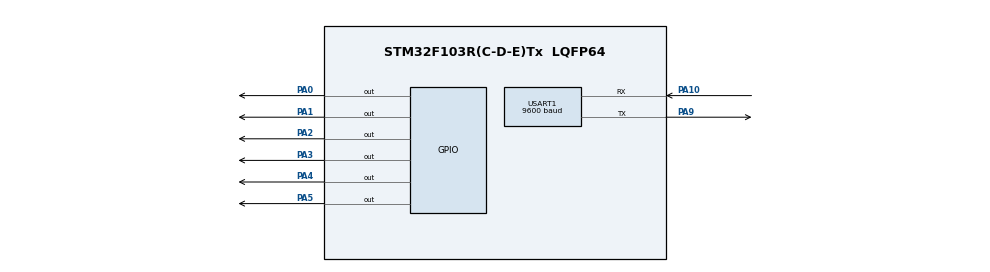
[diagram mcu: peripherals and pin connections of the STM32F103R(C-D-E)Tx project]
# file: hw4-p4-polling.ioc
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Mcu.Family=STM32F1
Mcu.Name=STM32F103R(C-D-E)Tx
Mcu.Package=LQFP64
NVIC.PriorityGroup=NVIC_PRIORITYGROUP_4
PA0-WKUP.Signal=GPIO_Output
PA1.Signal=GPIO_Output
PA10.Mode=Asynchronous
PA10.Signal=USART1_RX
PA13.Mode=Serial_Wire
PA13.Signal=SYS_JTMS-SWDIO
PA14.Mode=Serial_Wire
PA14.Signal=SYS_JTCK-SWCLK
PA2.Signal=GPIO_Output
PA3.Signal=GPIO_Output
PA4.Signal=GPIO_Output
PA5.Signal=GPIO_Output
PA9.Mode=Asynchronous
PA9.Signal=USART1_TX
PD0-OSC_IN.Mode=HSE-External-Oscillator
PD0-OSC_IN.Signal=RCC_OSC_IN
PD1-OSC_OUT.Mode=HSE-External-Oscillator
PD1-OSC_OUT.Signal=RCC_OSC_OUT
ProjectManager.HeapSize=0x200
ProjectManager.StackSize=0x400
ProjectManager.TargetToolchain=MDK-ARM V5.32
RCC.APB1Freq_Value=8000000
RCC.APB2Freq_Value=8000000
USART1.BaudRate=9600
USART1.VirtualMode=VM_ASYNC
board=custom

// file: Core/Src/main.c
/* USER CODE BEGIN Header */
/**
  ******************************************************************************
  * @file           : main.c
  * @brief          : Main program body
  ******************************************************************************
  * @attention
  *
  * Copyright (c) 2026 STMicroelectronics.
  * All rights reserved.
  *
  * This software is licensed under terms that can be found in the LICENSE file
  * in the root directory of this software component.
  * If no LICENSE file comes with this software, it is provided AS-IS.
  *
  ******************************************************************************
  */
/* USER CODE END Header */
#include "main.h"

/* USER CODE BEGIN Includes */
#include "lcd.h"
/* USER CODE END Includes */

/* USER CODE BEGIN PTD */
#define LCD_D4_PORT  GPIOA
#define LCD_D4_PIN   GPIO_PIN_0
#define LCD_D5_PORT  GPIOA
#define LCD_D5_PIN   GPIO_PIN_1
#define LCD_D6_PORT  GPIOA
#define LCD_D6_PIN   GPIO_PIN_2
#define LCD_D7_PORT  GPIOA
#define LCD_D7_PIN   GPIO_PIN_3

#define LCD_RS_PORT  GPIOA
#define LCD_RS_PIN   GPIO_PIN_4
#define LCD_EN_PORT  GPIOA
#define LCD_EN_PIN   GPIO_PIN_5
/* USER CODE END PTD */

UART_HandleTypeDef huart1;

/* USER CODE BEGIN PV */
uint8_t incoming_data = 0;
char display_text[16];
/* USER CODE END PV */

void SystemClock_Config(void);
static void MX_GPIO_Init(void);
static void MX_USART1_UART_Init(void);

int main(void)
{

  /* MCU Configuration--------------------------------------------------------*/

  /* Reset of all peripherals, Initializes the Flash interface and the Systick. */
  HAL_Init();

  /* Configure the system clock */
  SystemClock_Config();

  /* Initialize all configured peripherals */
  MX_GPIO_Init();
  MX_USART1_UART_Init();
  /* USER CODE BEGIN 2 */

Lcd_PortType data_ports[] = {LCD_D4_PORT, LCD_D5_PORT, LCD_D6_PORT, LCD_D7_PORT};
Lcd_PinType  data_pins[]  = {LCD_D4_PIN, LCD_D5_PIN, LCD_D6_PIN, LCD_D7_PIN};

Lcd_HandleTypeDef mylcd;
mylcd = Lcd_create(data_ports, data_pins, LCD_RS_PORT, LCD_RS_PIN, LCD_EN_PORT, LCD_EN_PIN, LCD_4_BIT_MODE);

Lcd_clear(&mylcd);
Lcd_cursor(&mylcd, 0, 0);
Lcd_string(&mylcd, "Mode: POLLING");
  /* USER CODE END 2 */

  /* Infinite loop */
  while (1)
  {

    /* USER CODE BEGIN 3 */
		if (HAL_UART_Receive(&huart1, &incoming_data, 1, 50) == HAL_OK)
    {
        Lcd_cursor(&mylcd, 1, 0);

        sprintf(display_text, "Value: %3d   ", incoming_data);
        Lcd_string(&mylcd, display_text);
    }
  }
  /* USER CODE END 3 */
}

void SystemClock_Config(void)
{
  RCC_OscInitTypeDef RCC_OscInitStruct = {0};
  RCC_ClkInitTypeDef RCC_ClkInitStruct = {0};

  /** Initializes the RCC Oscillators according to the specified parameters
  * in the RCC_OscInitTypeDef structure.
  */
  RCC_OscInitStruct.OscillatorType = RCC_OSCILLATORTYPE_HSI;
  RCC_OscInitStruct.HSIState = RCC_HSI_ON;
  RCC_OscInitStruct.HSICalibrationValue = RCC_HSICALIBRATION_DEFAULT;
  RCC_OscInitStruct.PLL.PLLState = RCC_PLL_NONE;
  if (HAL_RCC_OscConfig(&RCC_OscInitStruct) != HAL_OK)
  {
    Error_Handler();
  }

  /** Initializes the CPU, AHB and APB buses clocks
  */
  RCC_ClkInitStruct.ClockType = RCC_CLOCKTYPE_HCLK|RCC_CLOCKTYPE_SYSCLK
                              |RCC_CLOCKTYPE_PCLK1|RCC_CLOCKTYPE_PCLK2;
  RCC_ClkInitStruct.SYSCLKSource = RCC_SYSCLKSOURCE_HSI;
  RCC_ClkInitStruct.AHBCLKDivider = RCC_SYSCLK_DIV1;
  RCC_ClkInitStruct.APB1CLKDivider = RCC_HCLK_DIV1;
  RCC_ClkInitStruct.APB2CLKDivider = RCC_HCLK_DIV1;

  if (HAL_RCC_ClockConfig(&RCC_ClkInitStruct, FLASH_LATENCY_0) != HAL_OK)
  {
    Error_Handler();
  }
}

static void MX_USART1_UART_Init(void)
{

  huart1.Instance = USART1;
  huart1.Init.BaudRate = 9600;
  huart1.Init.WordLength = UART_WORDLENGTH_8B;
  huart1.Init.StopBits = UART_STOPBITS_1;
  huart1.Init.Parity = UART_PARITY_NONE;
  huart1.Init.Mode = UART_MODE_TX_RX;
  huart1.Init.HwFlowCtl = UART_HWCONTROL_NONE;
  huart1.Init.OverSampling = UART_OVERSAMPLING_16;
  if (HAL_UART_Init(&huart1) != HAL_OK)
  {
    Error_Handler();
  }

}

static void MX_GPIO_Init(void)
{
  GPIO_InitTypeDef GPIO_InitStruct = {0};

  /* GPIO Ports Clock Enable */
  __HAL_RCC_GPIOD_CLK_ENABLE();
  __HAL_RCC_GPIOA_CLK_ENABLE();

  /*Configure GPIO pin Output Level */
  HAL_GPIO_WritePin(GPIOA, GPIO_PIN_0|GPIO_PIN_1|GPIO_PIN_2|GPIO_PIN_3
                          |GPIO_PIN_4|GPIO_PIN_5, GPIO_PIN_RESET);

  /*Configure GPIO pins : PA0 PA1 PA2 PA3
                           PA4 PA5 */
  GPIO_InitStruct.Pin = GPIO_PIN_0|GPIO_PIN_1|GPIO_PIN_2|GPIO_PIN_3
                          |GPIO_PIN_4|GPIO_PIN_5;
  GPIO_InitStruct.Mode = GPIO_MODE_OUTPUT_PP;
  GPIO_InitStruct.Pull = GPIO_NOPULL;
  GPIO_InitStruct.Speed = GPIO_SPEED_FREQ_LOW;
  HAL_GPIO_Init(GPIOA, &GPIO_InitStruct);

}

void Error_Handler(void)
{
  __disable_irq();
  while (1)
  {
  }
}
